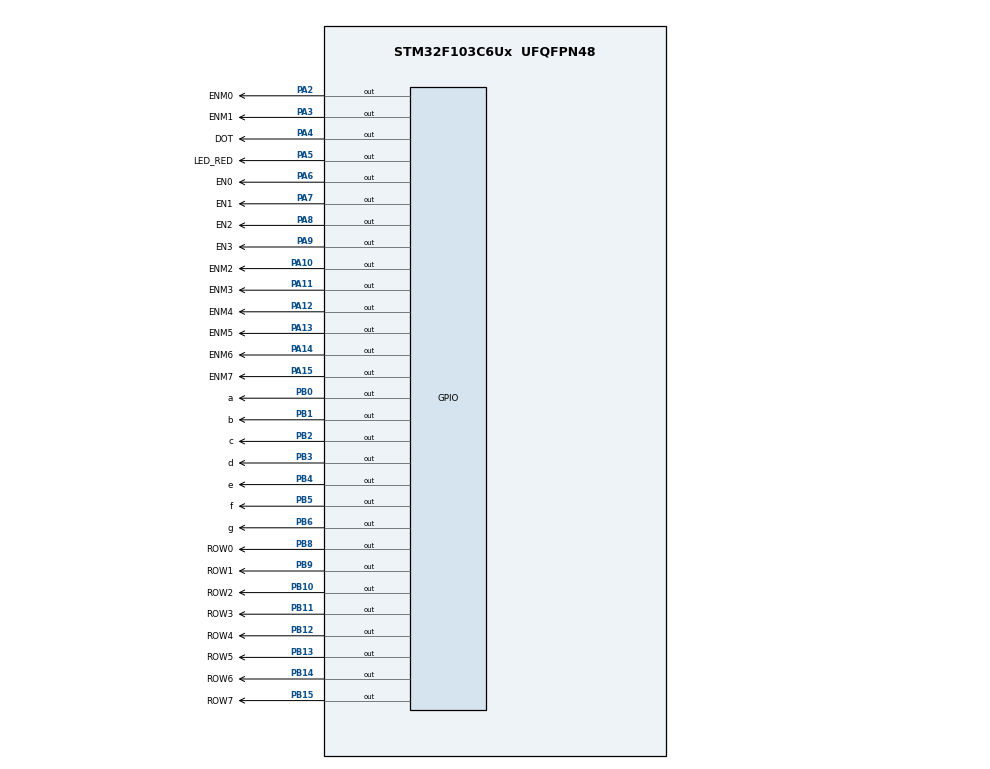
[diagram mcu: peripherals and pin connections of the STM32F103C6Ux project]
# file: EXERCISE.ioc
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Mcu.Family=STM32F1
Mcu.Name=STM32F103C6Ux
Mcu.Package=UFQFPN48
NVIC.PriorityGroup=NVIC_PRIORITYGROUP_4
NVIC.TIM2_IRQn=true\:0\:0\:false\:false\:true\:true\:true
PA10.GPIO_Label=ENM2
PA10.Signal=GPIO_Output
PA11.GPIO_Label=ENM3
PA11.Signal=GPIO_Output
PA12.GPIO_Label=ENM4
PA12.Signal=GPIO_Output
PA13.GPIO_Label=ENM5
PA13.Signal=GPIO_Output
PA14.GPIO_Label=ENM6
PA14.Signal=GPIO_Output
PA15.GPIO_Label=ENM7
PA15.Signal=GPIO_Output
PA2.GPIO_Label=ENM0
PA2.Signal=GPIO_Output
PA3.GPIO_Label=ENM1
PA3.Signal=GPIO_Output
PA4.GPIO_Label=DOT
PA4.Signal=GPIO_Output
PA5.GPIO_Label=LED_RED
PA5.Signal=GPIO_Output
PA6.GPIO_Label=EN0
PA6.Signal=GPIO_Output
PA7.GPIO_Label=EN1
PA7.Signal=GPIO_Output
PA8.GPIO_Label=EN2
PA8.Signal=GPIO_Output
PA9.GPIO_Label=EN3
PA9.Signal=GPIO_Output
PB0.GPIO_Label=a
PB0.Signal=GPIO_Output
PB1.GPIO_Label=b
PB1.Signal=GPIO_Output
PB10.GPIO_Label=ROW2
PB10.Signal=GPIO_Output
PB11.GPIO_Label=ROW3
PB11.Signal=GPIO_Output
PB12.GPIO_Label=ROW4
PB12.Signal=GPIO_Output
PB13.GPIO_Label=ROW5
PB13.Signal=GPIO_Output
PB14.GPIO_Label=ROW6
PB14.Signal=GPIO_Output
PB15.GPIO_Label=ROW7
PB15.Signal=GPIO_Output
PB2.GPIO_Label=c
PB2.Signal=GPIO_Output
PB3.GPIO_Label=d
PB3.Signal=GPIO_Output
PB4.GPIO_Label=e
PB4.Signal=GPIO_Output
PB5.GPIO_Label=f
PB5.Signal=GPIO_Output
PB6.GPIO_Label=g
PB6.Signal=GPIO_Output
PB8.GPIO_Label=ROW0
PB8.Signal=GPIO_Output
PB9.GPIO_Label=ROW1
PB9.Signal=GPIO_Output
ProjectManager.HeapSize=0x200
ProjectManager.StackSize=0x400
ProjectManager.TargetToolchain=STM32CubeIDE
RCC.APB1Freq_Value=8000000
RCC.APB2Freq_Value=8000000
TIM2.Period=9
TIM2.Prescaler=7999
VP_SYS_VS_ND.Mode=No_Debug
VP_TIM2_VS_ClockSourceINT.Mode=Internal
board=custom

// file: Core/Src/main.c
/* USER CODE BEGIN Header */
/**
  ******************************************************************************
  * @file           : main.c
  * @brief          : Main program body
  ******************************************************************************
  * @attention
  *
  * <h2><center>&copy; Copyright (c) 2023 STMicroelectronics.
  * All rights reserved.</center></h2>
  *
  * This software component is licensed by ST under BSD 3-Clause license,
  * the "License"; You may not use this file except in compliance with the
  * License. You may obtain a copy of the License at:
  *                        opensource.org/licenses/BSD-3-Clause
  *
  ******************************************************************************
  */
/* USER CODE END Header */
#include "main.h"

/* USER CODE BEGIN Includes */
#include "software_timer.h"
/* USER CODE END Includes */

TIM_HandleTypeDef htim2;

void SystemClock_Config(void);
static void MX_GPIO_Init(void);
static void MX_TIM2_Init(void);

/* USER CODE BEGIN 0 */
// function to control 7-led-segments, str[] is array contain segments to active
// and length is length of str[]
void activeLedSEG(char str[], int length) {
  for (int i=0; i<length; ++i){
    switch (str[i])
    {
    case 'a':
      HAL_GPIO_WritePin(a_GPIO_Port, a_Pin, RESET);
      break;
    case 'b':
      HAL_GPIO_WritePin(b_GPIO_Port, b_Pin, RESET);
      break;
    case 'c':
      HAL_GPIO_WritePin(c_GPIO_Port, c_Pin, RESET);
      break;
    case 'd':
      HAL_GPIO_WritePin(d_GPIO_Port, d_Pin, RESET);
      break;
    case 'e':
      HAL_GPIO_WritePin(e_GPIO_Port, e_Pin, RESET);
      break;
    case 'f':
      HAL_GPIO_WritePin(f_GPIO_Port, f_Pin, RESET);
      break;
    case 'g':
      HAL_GPIO_WritePin(g_GPIO_Port, g_Pin, RESET);
      break;
    default:
      break;
    }
  }
  return;
}
// function to control 7-led-segments, str[] is array contain segments to negative
// and length is length of str[]
void disableLedSEG(char str[], int length) {
  for (int i=0; i<length; ++i){
    switch (str[i])
    {
    case 'a':
      HAL_GPIO_WritePin(a_GPIO_Port, a_Pin, SET);
      break;
    case 'b':
      HAL_GPIO_WritePin(b_GPIO_Port, b_Pin, SET);
      break;
    case 'c':
      HAL_GPIO_WritePin(c_GPIO_Port, c_Pin, SET);
      break;
    case 'd':
      HAL_GPIO_WritePin(d_GPIO_Port, d_Pin, SET);
      break;
    case 'e':
      HAL_GPIO_WritePin(e_GPIO_Port, e_Pin, SET);
      break;
    case 'f':
      HAL_GPIO_WritePin(f_GPIO_Port, f_Pin, SET);
      break;
    case 'g':
      HAL_GPIO_WritePin(g_GPIO_Port, g_Pin, SET);
      break;
    default:
      break;
    }
  }
  return;
}
// function to control 7-led-segments
void display7SEG(int num){
	switch (num) {
		case 0:
			activeLedSEG("abcdef", 6);
			disableLedSEG("g", 1);
			break;
		case 1:
			activeLedSEG("bc", 2);
			disableLedSEG("adefg", 5);
			break;
		case 2:
			activeLedSEG("abdeg", 5);
			disableLedSEG("cf", 2);
			break;
		case 3:
			activeLedSEG("abcdg", 5);
			disableLedSEG("ef", 2);
			break;
		case 4:
			activeLedSEG("bcfg", 4);
			disableLedSEG("ade", 3);
			break;
		case 5:
			activeLedSEG("acdfg", 5);
			disableLedSEG("be", 2);
			break;
		case 6:
			activeLedSEG("acdefg", 6);
			disableLedSEG("b", 1);
			break;
		case 7:
			activeLedSEG("abc", 3);
			disableLedSEG("defg", 4);
			break;
		case 8:
			activeLedSEG("abcdefg", 7);
			break;
		case 9:
			activeLedSEG("abcdfg", 6);
			disableLedSEG("e", 1);
			break;
		default:
			disableLedSEG("abcdefg", 7);
			break;
	}
	return;
}

// function to disable all EN GPIO
void disableAllEN(){
	HAL_GPIO_WritePin(EN0_GPIO_Port, EN0_Pin, SET);
	HAL_GPIO_WritePin(EN1_GPIO_Port, EN1_Pin, SET);
	HAL_GPIO_WritePin(EN2_GPIO_Port, EN2_Pin, SET);
	HAL_GPIO_WritePin(EN3_GPIO_Port, EN3_Pin, SET);
}
// function to control EN
void controlENs(int num){
	switch(num){
	case 0:
		HAL_GPIO_WritePin(EN0_GPIO_Port, EN0_Pin, RESET);
		HAL_GPIO_WritePin(EN1_GPIO_Port, EN1_Pin, SET);
		HAL_GPIO_WritePin(EN2_GPIO_Port, EN2_Pin, SET);
		HAL_GPIO_WritePin(EN3_GPIO_Port, EN3_Pin, SET);
		break;
	case 1:
		HAL_GPIO_WritePin(EN0_GPIO_Port, EN0_Pin, SET);
		HAL_GPIO_WritePin(EN1_GPIO_Port, EN1_Pin, RESET);
		HAL_GPIO_WritePin(EN2_GPIO_Port, EN2_Pin, SET);
		HAL_GPIO_WritePin(EN3_GPIO_Port, EN3_Pin, SET);
		break;
	case 2:
		HAL_GPIO_WritePin(EN0_GPIO_Port, EN0_Pin, SET);
		HAL_GPIO_WritePin(EN1_GPIO_Port, EN1_Pin, SET);
		HAL_GPIO_WritePin(EN2_GPIO_Port, EN2_Pin, RESET);
		HAL_GPIO_WritePin(EN3_GPIO_Port, EN3_Pin, SET);
		break;
	case 3:
		HAL_GPIO_WritePin(EN0_GPIO_Port, EN0_Pin, SET);
		HAL_GPIO_WritePin(EN1_GPIO_Port, EN1_Pin, SET);
		HAL_GPIO_WritePin(EN2_GPIO_Port, EN2_Pin, SET);
		HAL_GPIO_WritePin(EN3_GPIO_Port, EN3_Pin, RESET);
		break;
	default:
		HAL_GPIO_WritePin(EN0_GPIO_Port, EN0_Pin, SET);
		HAL_GPIO_WritePin(EN1_GPIO_Port, EN1_Pin, SET);
		HAL_GPIO_WritePin(EN2_GPIO_Port, EN2_Pin, SET);
		HAL_GPIO_WritePin(EN3_GPIO_Port, EN3_Pin, SET);
		break;
	}
}

//Exercise 3
const int MAX_LED = 4;
int index_led = 0;
int led_buffer[4] = {1,2,3,4};
void update7SEG(int index){
	switch(index){
	case 0:
		display7SEG(led_buffer[0]);
		controlENs(0);
		break;
	case 1:
		display7SEG(led_buffer[1]);
		controlENs(1);
		break;
	case 2:
		display7SEG(led_buffer[2]);
		controlENs(2);
		break;
	case 3:
		display7SEG(led_buffer[3]);
		controlENs(3);
		break;
	default:
		display7SEG(led_buffer[0]);
		controlENs(0);
		break;
	}
}

// Exercise 5
int hour = 15, minute = 0, second = 15;
void updateClockBuffer() {
	led_buffer[0] = hour / 10;
	led_buffer[1] = hour % 10;
	led_buffer[2] = minute / 10;
	led_buffer[3] = minute % 10;
}
// test with minute and second
//void updateClockBuffer() {
//	led_buffer[0] = minute / 10;
//	led_buffer[1] = minute % 10;
//	led_buffer[2] = second / 10;
//	led_buffer[3] = second % 10;
//}

// Exercise 9
// define control ROW and COL for lex matrix
// ROW ON
#define ROW0_ON() HAL_GPIO_WritePin(ROW0_GPIO_Port, ROW0_Pin, RESET)
#define ROW1_ON() HAL_GPIO_WritePin(ROW1_GPIO_Port, ROW1_Pin, RESET)
#define ROW2_ON() HAL_GPIO_WritePin(ROW2_GPIO_Port, ROW2_Pin, RESET)
#define ROW3_ON() HAL_GPIO_WritePin(ROW3_GPIO_Port, ROW3_Pin, RESET)
#define ROW4_ON() HAL_GPIO_WritePin(ROW4_GPIO_Port, ROW4_Pin, RESET)
#define ROW5_ON() HAL_GPIO_WritePin(ROW5_GPIO_Port, ROW5_Pin, RESET)
#define ROW6_ON() HAL_GPIO_WritePin(ROW6_GPIO_Port, ROW6_Pin, RESET)
#define ROW7_ON() HAL_GPIO_WritePin(ROW7_GPIO_Port, ROW7_Pin, RESET)
// ROW OFF
#define ROW0_OFF() HAL_GPIO_WritePin(ROW0_GPIO_Port, ROW0_Pin, SET)
#define ROW1_OFF() HAL_GPIO_WritePin(ROW1_GPIO_Port, ROW1_Pin, SET)
#define ROW2_OFF() HAL_GPIO_WritePin(ROW2_GPIO_Port, ROW2_Pin, SET)
#define ROW3_OFF() HAL_GPIO_WritePin(ROW3_GPIO_Port, ROW3_Pin, SET)
#define ROW4_OFF() HAL_GPIO_WritePin(ROW4_GPIO_Port, ROW4_Pin, SET)
#define ROW5_OFF() HAL_GPIO_WritePin(ROW5_GPIO_Port, ROW5_Pin, SET)
#define ROW6_OFF() HAL_GPIO_WritePin(ROW6_GPIO_Port, ROW6_Pin, SET)
#define ROW7_OFF() HAL_GPIO_WritePin(ROW7_GPIO_Port, ROW7_Pin, SET)
// COL OFF
#define COL0_OFF() HAL_GPIO_WritePin(ENM0_GPIO_Port, ENM0_Pin, SET)
#define COL1_OFF() HAL_GPIO_WritePin(ENM1_GPIO_Port, ENM1_Pin, SET)
#define COL2_OFF() HAL_GPIO_WritePin(ENM2_GPIO_Port, ENM2_Pin, SET)
#define COL3_OFF() HAL_GPIO_WritePin(ENM3_GPIO_Port, ENM3_Pin, SET)
#define COL4_OFF() HAL_GPIO_WritePin(ENM4_GPIO_Port, ENM4_Pin, SET)
#define COL5_OFF() HAL_GPIO_WritePin(ENM5_GPIO_Port, ENM5_Pin, SET)
#define COL6_OFF() HAL_GPIO_WritePin(ENM6_GPIO_Port, ENM6_Pin, SET)
#define COL7_OFF() HAL_GPIO_WritePin(ENM7_GPIO_Port, ENM7_Pin, SET)
//COL ON
#define COL0_ON() HAL_GPIO_WritePin(ENM0_GPIO_Port, ENM0_Pin, RESET)
#define COL1_ON() HAL_GPIO_WritePin(ENM1_GPIO_Port, ENM1_Pin, RESET)
#define COL2_ON() HAL_GPIO_WritePin(ENM2_GPIO_Port, ENM2_Pin, RESET)
#define COL3_ON() HAL_GPIO_WritePin(ENM3_GPIO_Port, ENM3_Pin, RESET)
#define COL4_ON() HAL_GPIO_WritePin(ENM4_GPIO_Port, ENM4_Pin, RESET)
#define COL5_ON() HAL_GPIO_WritePin(ENM5_GPIO_Port, ENM5_Pin, RESET)
#define COL6_ON() HAL_GPIO_WritePin(ENM6_GPIO_Port, ENM6_Pin, RESET)
#define COL7_ON() HAL_GPIO_WritePin(ENM7_GPIO_Port, ENM7_Pin, RESET)

// function disable all Led in Led Matrix
void disableAllLEDMatrix(){
	// disable COLs (ENM)
	COL0_OFF();
	COL1_OFF();
	COL2_OFF();
	COL3_OFF();
	COL4_OFF();
	COL5_OFF();
	COL6_OFF();
	COL7_OFF();
	// disable ROWs
	ROW0_OFF();
	ROW1_OFF();
	ROW2_OFF();
	ROW3_OFF();
	ROW4_OFF();
	ROW5_OFF();
	ROW6_OFF();
	ROW7_OFF();
}

// function control led index in a ROW
void activeRow(int num){
	switch(num){
	case 0:
		ROW0_ON();
		break;
	case 1:
		ROW1_ON();
		break;
	case 2:
		ROW2_ON();
		break;
	case 3:
		ROW3_ON();
		break;
	case 4:
		ROW4_ON();
		break;
	case 5:
		ROW5_ON();
		break;
	case 6:
		ROW6_ON();
		break;
	case 7:
		ROW7_ON();
		break;
	default:
		disableAllLEDMatrix();
		break;
	}
}
// function control led in col
void activeCol(int index){
	switch(index){
		case 0:
			COL0_ON();
			break;
		case 1:
			COL1_ON();
			break;
		case 2:
			COL2_ON();
			break;
		case 3:
			COL3_ON();
			break;
		case 4:
			COL4_ON();
			break;
		case 5:
			COL5_ON();
			break;
		case 6:
			COL6_ON();
			break;
		case 7:
			COL7_ON();
			break;
		default:
			disableAllLEDMatrix();
			break;

	}
}

//
const int MAX_LED_MATRIX = 8;
int index_led_matrix = 0;
uint8_t matrix_buffer[8] = {0x01, 0x02, 0x03, 0x04, 0x05, 0x06, 0x07, 0x08};
uint8_t A[8][8] = {
		{0, 0, 0, 1, 1, 0, 0, 0},
		{0, 0, 1, 1, 1, 1, 0, 0},
		{0, 0, 1, 0, 0, 1, 0, 0},
		{0, 0, 1, 0, 0, 1, 0, 0},
		{0, 0, 1, 1, 1, 1, 0, 0},
		{0, 0, 1, 1, 1, 1, 0, 0},
		{0, 0, 1, 0, 0, 1, 0, 0},
		{0, 0, 1, 0, 0, 1, 0, 0},
};
// function update maxtrix_buffer
void updateLEDMatrix(int index, uint8_t array[][8]){
	matrix_buffer[index_led_matrix] = array[index][index_led_matrix];
	index_led_matrix++;
	if (index_led_matrix >= 8){
		index_led_matrix = 0;
	}
}
// function display led_matrix
int index_row = 0;
void displayLedMatrix() {
	if (index_row < 8) {
		disableAllLEDMatrix();
		// active Row follows index_row
		activeRow(index_row);
		// control Led index in Row follows matrix_buffer
		for (int index_col = 0; index_col < MAX_LED_MATRIX; index_col++){
			updateLEDMatrix(index_row, A);
			if (matrix_buffer[index_col] == 1){
				activeCol(index_col);
			}
		}
	}
	index_row++;
	if (index_row >= 8) {
		index_row = 0;
	}
}
/* USER CODE END 0 */

int main(void)
{

  /* MCU Configuration--------------------------------------------------------*/

  /* Reset of all peripherals, Initializes the Flash interface and the Systick. */
  HAL_Init();

  /* Configure the system clock */
  SystemClock_Config();

  /* Initialize all configured peripherals */
  MX_GPIO_Init();
  MX_TIM2_Init();
  /* USER CODE BEGIN 2 */
  HAL_TIM_Base_Start_IT(&htim2);
  /* USER CODE END 2 */

  /* Infinite loop */
  /* USER CODE BEGIN WHILE */
  // timer for led matrix
  setTimer0(10);
  // timer for LED_RED, this led show program running
  setTimer1(100);
  while (1)
  {
	  if (timer0_flag == 1){
		  setTimer0(10);
		  // TODO
		  displayLedMatrix();
	  }
	  if (timer1_flag == 1){
		  setTimer1(100);
		  // TODO
		  HAL_GPIO_TogglePin(LED_RED_GPIO_Port, LED_RED_Pin);
	  }
    /* USER CODE END WHILE */

  }
}

void SystemClock_Config(void)
{
  RCC_OscInitTypeDef RCC_OscInitStruct = {0};
  RCC_ClkInitTypeDef RCC_ClkInitStruct = {0};

  /** Initializes the RCC Oscillators according to the specified parameters
  * in the RCC_OscInitTypeDef structure.
  */
  RCC_OscInitStruct.OscillatorType = RCC_OSCILLATORTYPE_HSI;
  RCC_OscInitStruct.HSIState = RCC_HSI_ON;
  RCC_OscInitStruct.HSICalibrationValue = RCC_HSICALIBRATION_DEFAULT;
  RCC_OscInitStruct.PLL.PLLState = RCC_PLL_NONE;
  if (HAL_RCC_OscConfig(&RCC_OscInitStruct) != HAL_OK)
  {
    Error_Handler();
  }
  /** Initializes the CPU, AHB and APB buses clocks
  */
  RCC_ClkInitStruct.ClockType = RCC_CLOCKTYPE_HCLK|RCC_CLOCKTYPE_SYSCLK
                              |RCC_CLOCKTYPE_PCLK1|RCC_CLOCKTYPE_PCLK2;
  RCC_ClkInitStruct.SYSCLKSource = RCC_SYSCLKSOURCE_HSI;
  RCC_ClkInitStruct.AHBCLKDivider = RCC_SYSCLK_DIV1;
  RCC_ClkInitStruct.APB1CLKDivider = RCC_HCLK_DIV1;
  RCC_ClkInitStruct.APB2CLKDivider = RCC_HCLK_DIV1;

  if (HAL_RCC_ClockConfig(&RCC_ClkInitStruct, FLASH_LATENCY_0) != HAL_OK)
  {
    Error_Handler();
  }
}

static void MX_TIM2_Init(void)
{

  TIM_ClockConfigTypeDef sClockSourceConfig = {0};
  TIM_MasterConfigTypeDef sMasterConfig = {0};

  htim2.Instance = TIM2;
  htim2.Init.Prescaler = 7999;
  htim2.Init.CounterMode = TIM_COUNTERMODE_UP;
  htim2.Init.Period = 9;
  htim2.Init.ClockDivision = TIM_CLOCKDIVISION_DIV1;
  htim2.Init.AutoReloadPreload = TIM_AUTORELOAD_PRELOAD_DISABLE;
  if (HAL_TIM_Base_Init(&htim2) != HAL_OK)
  {
    Error_Handler();
  }
  sClockSourceConfig.ClockSource = TIM_CLOCKSOURCE_INTERNAL;
  if (HAL_TIM_ConfigClockSource(&htim2, &sClockSourceConfig) != HAL_OK)
  {
    Error_Handler();
  }
  sMasterConfig.MasterOutputTrigger = TIM_TRGO_RESET;
  sMasterConfig.MasterSlaveMode = TIM_MASTERSLAVEMODE_DISABLE;
  if (HAL_TIMEx_MasterConfigSynchronization(&htim2, &sMasterConfig) != HAL_OK)
  {
    Error_Handler();
  }

}

static void MX_GPIO_Init(void)
{
  GPIO_InitTypeDef GPIO_InitStruct = {0};

  /* GPIO Ports Clock Enable */
  __HAL_RCC_GPIOA_CLK_ENABLE();
  __HAL_RCC_GPIOB_CLK_ENABLE();

  /*Configure GPIO pin Output Level */
  HAL_GPIO_WritePin(GPIOA, ENM0_Pin|ENM1_Pin|DOT_Pin|LED_RED_Pin
                          |EN0_Pin|EN1_Pin|EN2_Pin|EN3_Pin
                          |ENM2_Pin|ENM3_Pin|ENM4_Pin|ENM5_Pin
                          |ENM6_Pin|ENM7_Pin, GPIO_PIN_RESET);

  /*Configure GPIO pin Output Level */
  HAL_GPIO_WritePin(GPIOB, a_Pin|b_Pin|c_Pin|ROW2_Pin
                          |ROW3_Pin|ROW4_Pin|ROW5_Pin|ROW6_Pin
                          |ROW7_Pin|d_Pin|e_Pin|f_Pin
                          |g_Pin|ROW0_Pin|ROW1_Pin, GPIO_PIN_RESET);

  /*Configure GPIO pins : ENM0_Pin ENM1_Pin DOT_Pin LED_RED_Pin
                           EN0_Pin EN1_Pin EN2_Pin EN3_Pin
                           ENM2_Pin ENM3_Pin ENM4_Pin ENM5_Pin
                           ENM6_Pin ENM7_Pin */
  GPIO_InitStruct.Pin = ENM0_Pin|ENM1_Pin|DOT_Pin|LED_RED_Pin
                          |EN0_Pin|EN1_Pin|EN2_Pin|EN3_Pin
                          |ENM2_Pin|ENM3_Pin|ENM4_Pin|ENM5_Pin
                          |ENM6_Pin|ENM7_Pin;
  GPIO_InitStruct.Mode = GPIO_MODE_OUTPUT_PP;
  GPIO_InitStruct.Pull = GPIO_NOPULL;
  GPIO_InitStruct.Speed = GPIO_SPEED_FREQ_LOW;
  HAL_GPIO_Init(GPIOA, &GPIO_InitStruct);

  /*Configure GPIO pins : a_Pin b_Pin c_Pin ROW2_Pin
                           ROW3_Pin ROW4_Pin ROW5_Pin ROW6_Pin
                           ROW7_Pin d_Pin e_Pin f_Pin
                           g_Pin ROW0_Pin ROW1_Pin */
  GPIO_InitStruct.Pin = a_Pin|b_Pin|c_Pin|ROW2_Pin
                          |ROW3_Pin|ROW4_Pin|ROW5_Pin|ROW6_Pin
                          |ROW7_Pin|d_Pin|e_Pin|f_Pin
                          |g_Pin|ROW0_Pin|ROW1_Pin;
  GPIO_InitStruct.Mode = GPIO_MODE_OUTPUT_PP;
  GPIO_InitStruct.Pull = GPIO_NOPULL;
  GPIO_InitStruct.Speed = GPIO_SPEED_FREQ_LOW;
  HAL_GPIO_Init(GPIOB, &GPIO_InitStruct);

}

/* USER CODE BEGIN 4 */
void HAL_TIM_PeriodElapsedCallback(TIM_HandleTypeDef *htim) {
	timerRun();
}
/* USER CODE END 4 */

void Error_Handler(void)
{
  __disable_irq();
  while (1)
  {
  }
}

/************************ (C) COPYRIGHT STMicroelectronics *****END OF FILE****/
